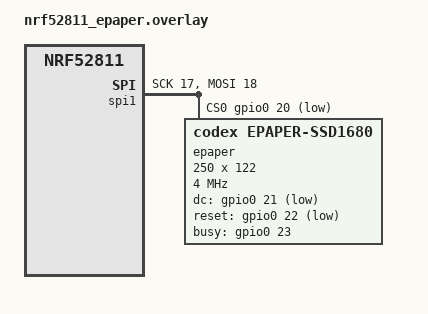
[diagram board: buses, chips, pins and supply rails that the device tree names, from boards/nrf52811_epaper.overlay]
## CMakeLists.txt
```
cmake_minimum_required(VERSION 3.20.0)

find_package(Zephyr REQUIRED HINTS $ENV{ZEPHYR_BASE})
project(codex-epaper-quota)

target_sources(app PRIVATE
    src/main.c
    src/ble_service.c
    src/epaper.c
    src/epaper_driver_ssd1680.c
    src/framebuffer.c
    src/power.c
)

target_include_directories(app PRIVATE src)
```

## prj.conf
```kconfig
CONFIG_BT=y
CONFIG_BT_PERIPHERAL=y
CONFIG_BT_DEVICE_NAME="CodexQuota"
CONFIG_BT_DEVICE_NAME_DYNAMIC=y
CONFIG_BT_MAX_CONN=1
CONFIG_BT_GATT_DYNAMIC=y

CONFIG_SPI=y
CONFIG_GPIO=y

CONFIG_LOG=y
CONFIG_LOG_DEFAULT_LEVEL=3

CONFIG_MAIN_STACK_SIZE=2048
CONFIG_SYSTEM_WORKQUEUE_STACK_SIZE=2048
CONFIG_HEAP_MEM_POOL_SIZE=8192

CONFIG_SERIAL=y
CONFIG_CONSOLE=y
CONFIG_UART_CONSOLE=y

CONFIG_PM_DEVICE=y
```

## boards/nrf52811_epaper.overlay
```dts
&spi1 {
    compatible = "nordic,nrf-spi";
    status = "okay";
    sck-pin = <17>;
    mosi-pin = <18>;
    cs-gpios = <&gpio0 20 GPIO_ACTIVE_LOW>;

    epaper: epaper@0 {
        compatible = "codex,epaper-ssd1680";
        reg = <0>;
        spi-max-frequency = <4000000>;
        dc-gpios = <&gpio0 21 GPIO_ACTIVE_LOW>;
        reset-gpios = <&gpio0 22 GPIO_ACTIVE_LOW>;
        busy-gpios = <&gpio0 23 (GPIO_PULL_UP | GPIO_ACTIVE_HIGH)>;
        cs-gpios = <&gpio0 20 GPIO_ACTIVE_LOW>;
        width = <250>;
        height = <122>;
    };
};
```

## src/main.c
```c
#include <zephyr/kernel.h>
#include <zephyr/logging/log.h>

#include "ble_service.h"
#include "epaper.h"
#include "power.h"

LOG_MODULE_REGISTER(main, CONFIG_LOG_DEFAULT_LEVEL);

#define BLE_DEVICE_NAME "CodexQuota"
#define BLE_DEVICE_NAME_LEN (sizeof(BLE_DEVICE_NAME) - 1)

static const struct bt_data ad[] = {
    BT_DATA(BT_DATA_NAME_COMPLETE, BLE_DEVICE_NAME, BLE_DEVICE_NAME_LEN),
};

int main(void)
{
    LOG_INF("Codex Epaper Quota Display starting...");

    power_init();

    int err = epaper_init();
    if (err) {
        LOG_ERR("Epaper init failed: %d", err);
        return err;
    }
    LOG_INF("Epaper initialized");

    err = ble_service_init();
    if (err) {
        LOG_ERR("BLE service init failed: %d", err);
        return err;
    }
    LOG_INF("BLE service initialized");

    err = bt_le_adv_start(BT_LE_ADV_CONN, ad, ARRAY_SIZE(ad), NULL, 0);
    if (err) {
        LOG_ERR("Advertising failed: %d", err);
        return err;
    }
    LOG_INF("Advertising as '%s'", BLE_DEVICE_NAME);

    while (1) {
        if (ble_service_get_state() == 4) {
            LOG_INF("Display updated, entering idle");
            epaper_sleep();
            k_sleep(K_SECONDS(30));
            epaper_init();
        }
        k_sleep(K_SECONDS(1));
    }

    return 0;
}
```

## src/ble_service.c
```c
#include "ble_service.h"
#include "protocol.h"
#include "framebuffer.h"

#include <zephyr/kernel.h>
#include <zephyr/logging/log.h>

LOG_MODULE_REGISTER(ble_service, CONFIG_LOG_DEFAULT_LEVEL);

static struct status_notify status = {
    .state = STATE_IDLE,
    .received_chunks = 0,
    .expected_chunks = 0,
    .battery_percent = 100,
    .error_code = ERROR_NONE,
};

struct bt_conn *current_conn;

static ssize_t on_control_write(struct bt_conn *conn,
                                const struct bt_gatt_attr *attr,
                                const void *buf, uint16_t len,
                                uint16_t offset, uint8_t flags);

static ssize_t on_data_write(struct bt_conn *conn,
                             const struct bt_gatt_attr *attr,
                             const void *buf, uint16_t len,
                             uint16_t offset, uint8_t flags);

BT_GATT_SERVICE_DEFINE(codex_svc,
    BT_GATT_PRIMARY_SERVICE(BT_UUID_DECLARE_128(
        0x01, 0x30, 0x61, 0x75, 0x71, 0x65, 0x78, 0x6f,
        0x64, 0x63, 0x2d, 0x65, 0x78, 0x6f, 0x63, 0x2d)),

    BT_GATT_CHARACTERISTIC(BT_UUID_DECLARE_128(
        0x02, 0x30, 0x61, 0x75, 0x71, 0x65, 0x78, 0x6f,
        0x64, 0x63, 0x2d, 0x65, 0x78, 0x6f, 0x63, 0x2d),
        BT_GATT_CHRC_WRITE,
        BT_GATT_PERM_WRITE,
        NULL, on_control_write, NULL),

    BT_GATT_CHARACTERISTIC(BT_UUID_DECLARE_128(
        0x03, 0x30, 0x61, 0x75, 0x71, 0x65, 0x78, 0x6f,
        0x64, 0x63, 0x2d, 0x65, 0x78, 0x6f, 0x63, 0x2d),
        BT_GATT_CHRC_WRITE_WITHOUT_RESP,
        BT_GATT_PERM_WRITE,
        NULL, on_data_write, NULL),

    BT_GATT_CHARACTERISTIC(BT_UUID_DECLARE_128(
        0x04, 0x30, 0x61, 0x75, 0x71, 0x65, 0x78, 0x6f,
        0x64, 0x63, 0x2d, 0x65, 0x78, 0x6f, 0x63, 0x2d),
        BT_GATT_CHRC_NOTIFY,
        BT_GATT_PERM_NONE,
        NULL, NULL, NULL),

    BT_GATT_CCC(NULL, BT_GATT_PERM_READ | BT_GATT_PERM_WRITE),
);

static const struct bt_gatt_attr *status_attr = &codex_svc.attrs[4];

static void connected(struct bt_conn *conn, uint8_t err)
{
    if (err) {
        LOG_ERR("Connection failed (err %u)", err);
        return;
    }
    current_conn = bt_conn_ref(conn);
    LOG_INF("Device connected");
}

static void disconnected(struct bt_conn *conn, uint8_t reason)
{
    if (current_conn) {
        bt_conn_unref(current_conn);
        current_conn = NULL;
    }
    LOG_INF("Device disconnected (reason %u)", reason);
}

BT_CONN_CB_DEFINE(conn_callbacks) = {
    .connected = connected,
    .disconnected = disconnected,
};

static void mtu_exchange_cb(struct bt_conn *conn, uint8_t err,
                            struct bt_gatt_exchange_params *params)
{
    if (err) {
        LOG_WRN("MTU exchange failed (err %u)", err);
    } else {
        LOG_INF("MTU exchanged: %u", bt_conn_get_mtu(conn));
    }
}

static struct bt_gatt_exchange_params mtu_params = {
    .func = mtu_exchange_cb,
};

static ssize_t on_control_write(struct bt_conn *conn,
                                const struct bt_gatt_attr *attr,
                                const void *buf, uint16_t len,
                                uint16_t offset, uint8_t flags)
{
    const uint8_t *data = (const uint8_t *)buf;

    if (len < 1) {
        return BT_GATT_ERR(BT_ATT_ERR_INVALID_ATTRIBUTE_LEN);
    }

    uint8_t cmd = data[0];

    switch (cmd) {
    case CMD_BEGIN_FRAME: {
        if (len < 16) {
            return BT_GATT_ERR(BT_ATT_ERR_INVALID_ATTRIBUTE_LEN);
        }
        struct begin_frame_payload payload;
        payload.width = sys_get_be16(&data[1]);
        payload.height = sys_get_be16(&data[3]);
        payload.format = data[5];
        payload.frame_size = sys_get_be32(&data[6]);
        payload.crc32 = sys_get_be32(&data[10]);
        payload.chunk_size = sys_get_be16(&data[14]);

        LOG_INF("BEGIN_FRAME: %ux%u fmt=%u size=%u crc=0x%08X chunk=%u",
                payload.width, payload.height, payload.format,
                payload.frame_size, payload.crc32, payload.chunk_size);

        int ret = fb_begin_frame(payload.width, payload.height,
                                 payload.format, payload.frame_size,
                                 payload.crc32, payload.chunk_size);
        if (ret == 0) {
            status.state = STATE_RECEIVING;
            status.received_chunks = 0;
            status.expected_chunks = (payload.frame_size + payload.chunk_size - 1) / payload.chunk_size;
            status.error_code = ERROR_NONE;
        } else {
            status.state = STATE_ERROR;
            status.error_code = ERROR_OVERFLOW;
        }
        ble_service_notify_status();
        break;
    }
    case CMD_END_FRAME: {
        LOG_INF("END_FRAME received");
        status.state = STATE_VERIFYING;
        ble_service_notify_status();

        int ret = fb_end_frame();
        if (ret == 0) {
            status.state = STATE_DONE;
            status.error_code = ERROR_NONE;
        } else {
            status.state = STATE_ERROR;
            status.error_code = (ret == -1) ? ERROR_CRC : ERROR_SIZE;
        }
        ble_service_notify_status();
        break;
    }
    case CMD_REFRESH: {
        LOG_INF("REFRESH command");
        status.state = STATE_REFRESHING;
        ble_service_notify_status();

        extern int epaper_refresh_from_fb(void);
        epaper_refresh_from_fb();

        status.state = STATE_DONE;
        ble_service_notify_status();
        break;
    }
    case CMD_ABORT: {
        LOG_INF("ABORT command");
        fb_abort();
        status.state = STATE_IDLE;
        status.received_chunks = 0;
        status.error_code = ERROR_NONE;
        ble_service_notify_status();
        break;
    }
    case CMD_PING: {
        LOG_INF("PING command");
        ble_service_notify_status();
        break;
    }
    default:
        LOG_WRN("Unknown command: 0x%02X", cmd);
        break;
    }

    return len;
}

static ssize_t on_data_write(struct bt_conn *conn,
                             const struct bt_gatt_attr *attr,
                             const void *buf, uint16_t len,
                             uint16_t offset, uint8_t flags)
{
    if (status.state != STATE_RECEIVING) {
        return len;
    }

    const uint8_t *data = (const uint8_t *)buf;
    if (len < 4) {
        return len;
    }

    struct data_chunk_header hdr;
    hdr.seq = sys_get_be16(&data[0]);
    hdr.payload_len = sys_get_be16(&data[2]);

    if (len < 4 + hdr.payload_len) {
        return len;
    }

    fb_write_chunk(hdr.seq, &data[4], hdr.payload_len);
    status.received_chunks++;

    if (status.received_chunks % 20 == 0) {
        ble_service_notify_status();
    }

    return len;
}

int ble_service_init(void)
{
    int err = bt_enable(NULL);
    if (err) {
        LOG_ERR("Bluetooth init failed (err %d)", err);
        return err;
    }
    LOG_INF("Bluetooth initialized");

    if (current_conn) {
        bt_gatt_exchange_mtu(current_conn, &mtu_params);
    }

    return 0;
}

void ble_service_notify_status(void)
{
    if (!current_conn) {
        return;
    }

    uint8_t buf[8];
    buf[0] = status.state;
    sys_put_be16(status.received_chunks, &buf[1]);
    sys_put_be16(status.expected_chunks, &buf[3]);
    buf[5] = status.battery_percent;
    buf[6] = status.error_code;
    buf[7] = 0;

    bt_gatt_notify(current_conn, status_attr, buf, sizeof(buf));
}

void ble_service_set_state(uint8_t state)
{
    status.state = state;
}

void ble_service_set_error(uint8_t error)
{
    status.error_code = error;
}

void ble_service_increment_chunks(void)
{
    status.received_chunks++;
}

void ble_service_set_expected_chunks(uint16_t expected)
{
    status.expected_chunks = expected;
}

uint8_t ble_service_get_state(void)
{
    return status.state;
}
```

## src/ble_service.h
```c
#ifndef BLE_SERVICE_H_
#define BLE_SERVICE_H_

#include <zephyr/bluetooth/bluetooth.h>
#include <zephyr/bluetooth/gatt.h>
#include <zephyr/bluetooth/uuid.h>
#include <zephyr/bluetooth/conn.h>

int ble_service_init(void);
void ble_service_notify_status(void);
void ble_service_set_state(uint8_t state);
void ble_service_set_error(uint8_t error);
void ble_service_increment_chunks(void);
void ble_service_set_expected_chunks(uint16_t expected);
uint8_t ble_service_get_state(void);

extern struct bt_conn *current_conn;

#endif /* BLE_SERVICE_H_ */
```

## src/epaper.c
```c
#include "epaper.h"
#include "epaper_driver_ssd1680.h"
#include "framebuffer.h"
#include "protocol.h"

#include <zephyr/kernel.h>
#include <zephyr/logging/log.h>

LOG_MODULE_REGISTER(epaper, CONFIG_LOG_DEFAULT_LEVEL);

int epaper_init(void)
{
    return ssd1680_init();
}

int epaper_sleep(void)
{
    return ssd1680_sleep();
}

int epaper_clear(void)
{
    return ssd1680_clear();
}

int epaper_refresh_bw(const uint8_t *black)
{
    int ret = ssd1680_refresh_bw(black);
    return ret;
}

int epaper_refresh_bwr(const uint8_t *black, const uint8_t *red)
{
    int ret = ssd1680_refresh_bwr(black, red);
    return ret;
}

int epaper_refresh_from_fb(void)
{
    const uint8_t *black = fb_get_black_plane();
    const uint8_t *red = fb_get_red_plane();
    uint8_t fmt = fb_get_format();

    if (!black) {
        LOG_ERR("No framebuffer data");
        return -1;
    }

    if (fmt == FORMAT_2PLANE && red) {
        LOG_INF("Refreshing BWR display");
        return epaper_refresh_bwr(black, red);
    } else {
        LOG_INF("Refreshing BW display");
        return epaper_refresh_bw(black);
    }
}
```

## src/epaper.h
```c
#ifndef EPAPER_H_
#define EPAPER_H_

#include <stdint.h>

int epaper_init(void);
int epaper_sleep(void);
int epaper_clear(void);
int epaper_refresh_bw(const uint8_t *black);
int epaper_refresh_bwr(const uint8_t *black, const uint8_t *red);
int epaper_refresh_from_fb(void);

#endif /* EPAPER_H_ */
```

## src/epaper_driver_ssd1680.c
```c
#include "epaper_driver_ssd1680.h"

#include <zephyr/kernel.h>
#include <zephyr/drivers/spi.h>
#include <zephyr/drivers/gpio.h>
#include <zephyr/logging/log.h>
#include <string.h>

LOG_MODULE_REGISTER(ssd1680, CONFIG_LOG_DEFAULT_LEVEL);

#define EPAPER_WIDTH  250
#define EPAPER_HEIGHT 122

static const struct spi_dt_spec spi_spec = SPI_DT_SPEC_GET(DT_NODELABEL(epaper), SPI_OP_MODE_MASTER | SPI_TRANSFER_MSB | SPI_WORD_SET(8), 0);
static const struct gpio_dt_spec dc_pin  = GPIO_DT_SPEC_GET(DT_NODELABEL(epaper), dc_gpios);
static const struct gpio_dt_spec rst_pin = GPIO_DT_SPEC_GET(DT_NODELABEL(epaper), reset_gpios);
static const struct gpio_dt_spec busy_pin = GPIO_DT_SPEC_GET(DT_NODELABEL(epaper), busy_gpios);
static const struct gpio_dt_spec cs_pin  = GPIO_DT_SPEC_GET(DT_NODELABEL(epaper), cs_gpios);

static void wait_busy(void)
{
    while (gpio_pin_get_dt(&busy_pin) == 1) {
        k_msleep(10);
    }
}

static void send_command(uint8_t cmd)
{
    gpio_pin_set_dt(&dc_pin, 0);
    gpio_pin_set_dt(&cs_pin, 0);

    struct spi_buf buf = { .buf = &cmd, .len = 1 };
    struct spi_buf_set set = { .buffers = &buf, .count = 1 };
    spi_write_dt(&spi_spec, &set);

    gpio_pin_set_dt(&cs_pin, 1);
}

static void send_data(const uint8_t *data, uint16_t len)
{
    gpio_pin_set_dt(&dc_pin, 1);
    gpio_pin_set_dt(&cs_pin, 0);

    struct spi_buf buf = { .buf = (void *)data, .len = len };
    struct spi_buf_set set = { .buffers = &buf, .count = 1 };
    spi_write_dt(&spi_spec, &set);

    gpio_pin_set_dt(&cs_pin, 1);
}

static void reset_hw(void)
{
    gpio_pin_set_dt(&rst_pin, 1);
    k_msleep(20);
    gpio_pin_set_dt(&rst_pin, 0);
    k_msleep(20);
    gpio_pin_set_dt(&rst_pin, 1);
    k_msleep(20);
    wait_busy();
}

/* TODO: verify LUT/init sequence with the actual panel datasheet. */
static void load_lut_full(void)
{
    send_command(0x32);
    static const uint8_t lut_full[] = {
        0x02, 0x02, 0x01, 0x11, 0x01, 0x02, 0x01, 0x02,
        0x01, 0x00, 0x00, 0x00, 0x00, 0x00, 0x00, 0x00,
        0x00, 0x00, 0x00, 0x00, 0x00, 0x00, 0x00, 0x00,
        0x00, 0x00, 0x00, 0x00, 0x00, 0x00,
    };
    send_data(lut_full, sizeof(lut_full));
}

static void set_display_window(uint16_t x, uint16_t y, uint16_t w, uint16_t h)
{
    send_command(0x44);
    uint8_t buf[4] = { x / 8, (x + w - 1) / 8, x / 8, (x + w - 1) / 8 };
    send_data(buf, 4);

    send_command(0x45);
    buf[0] = y; buf[1] = 0; buf[2] = y + h - 1; buf[3] = 0;
    send_data(buf, 4);
}

static void write_image(const uint8_t *data, uint16_t w, uint16_t h)
{
    uint16_t row_bytes = (w + 7) / 8;
    uint32_t total = row_bytes * h;

    send_command(0x4E);
    uint8_t tmp = 0;
    send_data(&tmp, 1);

    send_command(0x4F);
    tmp = 0;
    send_data(&tmp, 1);

    send_command(0x24);
    send_data(data, total);
}

static void write_red_image(const uint8_t *data, uint16_t w, uint16_t h)
{
    uint16_t row_bytes = (w + 7) / 8;
    uint32_t total = row_bytes * h;

    send_command(0x4E);
    uint8_t tmp = 0;
    send_data(&tmp, 1);

    send_command(0x4F);
    tmp = 0;
    send_data(&tmp, 1);

    send_command(0x26);
    send_data(data, total);
}

int ssd1680_init(void)
{
    if (!spi_is_ready_dt(&spi_spec)) {
        LOG_ERR("SPI not ready");
        return -1;
    }
    if (!gpio_is_ready_dt(&dc_pin) || !gpio_is_ready_dt(&rst_pin) ||
        !gpio_is_ready_dt(&busy_pin) || !gpio_is_ready_dt(&cs_pin)) {
        LOG_ERR("GPIO not ready");
        return -1;
    }

    gpio_pin_configure_dt(&dc_pin, GPIO_OUTPUT_ACTIVE);
    gpio_pin_configure_dt(&rst_pin, GPIO_OUTPUT_ACTIVE);
    gpio_pin_configure_dt(&busy_pin, GPIO_INPUT);
    gpio_pin_configure_dt(&cs_pin, GPIO_OUTPUT_ACTIVE);

    reset_hw();

    send_command(0x12);
    wait_busy();

    LOG_INF("SSD1680 initialized");
    return 0;
}

int ssd1680_sleep(void)
{
    send_command(0x10);
    uint8_t data = 0x01;
    send_data(&data, 1);
    LOG_INF("SSD1680 deep sleep");
    return 0;
}

int ssd1680_clear(void)
{
    reset_hw();

    send_command(0x12);
    wait_busy();

    LOG_INF("SSD1680 cleared");
    return 0;
}

int ssd1680_refresh_bw(const uint8_t *black)
{
    reset_hw();

    set_display_window(0, 0, EPAPER_WIDTH, EPAPER_HEIGHT);
    write_image(black, EPAPER_WIDTH, EPAPER_HEIGHT);

    load_lut_full();

    send_command(0x22);
    uint8_t data = 0xC4;
    send_data(&data, 1);
    send_command(0x20);
    wait_busy();

    send_command(0x12);
    wait_busy();

    LOG_INF("BW refresh done");
    return 0;
}

int ssd1680_refresh_bwr(const uint8_t *black, const uint8_t *red)
{
    reset_hw();

    set_display_window(0, 0, EPAPER_WIDTH, EPAPER_HEIGHT);
    write_image(black, EPAPER_WIDTH, EPAPER_HEIGHT);
    write_red_image(red, EPAPER_WIDTH, EPAPER_HEIGHT);

    load_lut_full();

    send_command(0x22);
    uint8_t data = 0xC7;
    send_data(&data, 1);
    send_command(0x20);
    wait_busy();

    send_command(0x12);
    wait_busy();

    LOG_INF("BWR refresh done");
    return 0;
}
```

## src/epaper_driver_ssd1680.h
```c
#ifndef EPAPER_DRIVER_SSD1680_H_
#define EPAPER_DRIVER_SSD1680_H_

#include <stdint.h>

int ssd1680_init(void);
int ssd1680_sleep(void);
int ssd1680_clear(void);
int ssd1680_refresh_bw(const uint8_t *black);
int ssd1680_refresh_bwr(const uint8_t *black, const uint8_t *red);

#endif /* EPAPER_DRIVER_SSD1680_H_ */
```

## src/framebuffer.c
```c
#include "framebuffer.h"
#include "protocol.h"

#include <zephyr/kernel.h>
#include <zephyr/logging/log.h>
#include <string.h>

LOG_MODULE_REGISTER(framebuffer, CONFIG_LOG_DEFAULT_LEVEL);

#define MAX_FB_SIZE 10000

static uint8_t fb_buffer[MAX_FB_SIZE];
static uint16_t fb_width;
static uint16_t fb_height;
static uint8_t fb_format;
static uint32_t fb_expected_size;
static uint32_t fb_expected_crc;
static uint16_t fb_chunk_size;
static uint32_t fb_received;
static bool fb_active;

static uint32_t compute_crc32(const uint8_t *data, uint32_t len)
{
    uint32_t crc = 0xFFFFFFFF;
    for (uint32_t i = 0; i < len; i++) {
        crc ^= data[i];
        for (int j = 0; j < 8; j++) {
            if (crc & 1)
                crc = (crc >> 1) ^ 0xEDB88320;
            else
                crc >>= 1;
        }
    }
    return crc ^ 0xFFFFFFFF;
}

int fb_begin_frame(uint16_t width, uint16_t height, uint8_t format,
                   uint32_t frame_size, uint32_t crc32, uint16_t chunk_size)
{
    if (frame_size > MAX_FB_SIZE) {
        LOG_ERR("Frame too large: %u > %u", frame_size, MAX_FB_SIZE);
        return -1;
    }

    fb_width = width;
    fb_height = height;
    fb_format = format;
    fb_expected_size = frame_size;
    fb_expected_crc = crc32;
    fb_chunk_size = chunk_size;
    fb_received = 0;
    fb_active = true;

    memset(fb_buffer, 0, sizeof(fb_buffer));

    LOG_INF("Frame buffer ready: %ux%u fmt=%u size=%u",
            width, height, format, frame_size);
    return 0;
}

int fb_write_chunk(uint16_t seq, const uint8_t *data, uint16_t len)
{
    if (!fb_active) {
        return -1;
    }

    uint32_t offset = (uint32_t)seq * fb_chunk_size;
    if (offset + len > MAX_FB_SIZE) {
        LOG_ERR("Chunk overflow at seq=%u offset=%u len=%u", seq, offset, len);
        return -1;
    }

    memcpy(&fb_buffer[offset], data, len);
    fb_received += len;

    return 0;
}

int fb_end_frame(void)
{
    if (!fb_active) {
        return -2;
    }

    fb_active = false;

    if (fb_received != fb_expected_size) {
        LOG_ERR("Size mismatch: received=%u expected=%u", fb_received, fb_expected_size);
        return -2;
    }

    uint32_t crc = compute_crc32(fb_buffer, fb_received);
    if (crc != fb_expected_crc) {
        LOG_ERR("CRC mismatch: computed=0x%08X expected=0x%08X", crc, fb_expected_crc);
        return -1;
    }

    LOG_INF("Frame verified OK (size=%u, crc=0x%08X)", fb_received, crc);
    return 0;
}

void fb_abort(void)
{
    fb_active = false;
    fb_received = 0;
    LOG_INF("Frame aborted");
}

const uint8_t *fb_get_black_plane(void)
{
    return fb_buffer;
}

const uint8_t *fb_get_red_plane(void)
{
    if (fb_format == FORMAT_2PLANE) {
        uint16_t row_bytes = (fb_width + 7) / 8;
        uint32_t plane_size = row_bytes * fb_height;
        if (plane_size < fb_expected_size) {
            return &fb_buffer[plane_size];
        }
    }
    return NULL;
}

uint16_t fb_get_width(void)
{
    return fb_width;
}

uint16_t fb_get_height(void)
{
    return fb_height;
}

uint8_t fb_get_format(void)
{
    return fb_format;
}
```

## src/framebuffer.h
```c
#ifndef FRAMEBUFFER_H_
#define FRAMEBUFFER_H_

#include <stdint.h>

int fb_begin_frame(uint16_t width, uint16_t height, uint8_t format,
                   uint32_t frame_size, uint32_t crc32, uint16_t chunk_size);
int fb_write_chunk(uint16_t seq, const uint8_t *data, uint16_t len);
int fb_end_frame(void);
void fb_abort(void);

const uint8_t *fb_get_black_plane(void);
const uint8_t *fb_get_red_plane(void);
uint16_t fb_get_width(void);
uint16_t fb_get_height(void);
uint8_t fb_get_format(void);

#endif /* FRAMEBUFFER_H_ */
```

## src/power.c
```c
#include "power.h"

#include <zephyr/kernel.h>
#include <zephyr/logging/log.h>

LOG_MODULE_REGISTER(power, CONFIG_LOG_DEFAULT_LEVEL);

void power_init(void)
{
    LOG_INF("Power management initialized");
}

void power_idle(void)
{
    k_cpu_idle();
}

void power_deep_sleep(void)
{
    LOG_INF("Entering deep sleep");
    k_cpu_idle();
}
```

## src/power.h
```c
#ifndef POWER_H_
#define POWER_H_

void power_init(void);
void power_idle(void);
void power_deep_sleep(void);

#endif /* POWER_H_ */
```

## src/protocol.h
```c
#ifndef PROTOCOL_H_
#define PROTOCOL_H_

#include <stdint.h>

#define SERVICE_UUID "7b7d0001-8c5f-4e87-9f8e-codexquota01"
#define CHAR_CONTROL_UUID "7b7d0002-8c5f-4e87-9f8e-codexquota01"
#define CHAR_DATA_UUID "7b7d0003-8c5f-4e87-9f8e-codexquota01"
#define CHAR_STATUS_UUID "7b7d0004-8c5f-4e87-9f8e-codexquota01"

#define CMD_BEGIN_FRAME 0x01
#define CMD_END_FRAME   0x02
#define CMD_REFRESH     0x03
#define CMD_ABORT       0x04
#define CMD_PING        0x05

#define FORMAT_1BPP    1
#define FORMAT_2PLANE  2

#define STATE_IDLE       0
#define STATE_RECEIVING  1
#define STATE_VERIFYING  2
#define STATE_REFRESHING 3
#define STATE_DONE       4
#define STATE_ERROR      5

#define ERROR_NONE        0
#define ERROR_CRC         1
#define ERROR_SIZE        2
#define ERROR_OVERFLOW    3
#define ERROR_SEQUENCE   4

struct begin_frame_payload {
    uint16_t width;
    uint16_t height;
    uint8_t  format;
    uint32_t frame_size;
    uint32_t crc32;
    uint16_t chunk_size;
};

struct data_chunk_header {
    uint16_t seq;
    uint16_t payload_len;
};

struct status_notify {
    uint8_t  state;
    uint16_t received_chunks;
    uint16_t expected_chunks;
    uint8_t  battery_percent;
    uint8_t  error_code;
};

#endif /* PROTOCOL_H_ */
```
